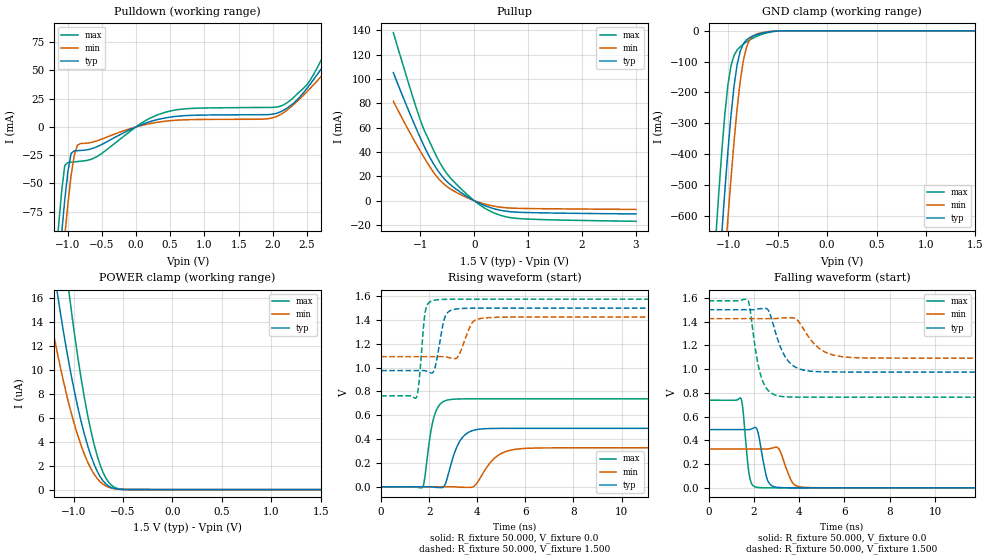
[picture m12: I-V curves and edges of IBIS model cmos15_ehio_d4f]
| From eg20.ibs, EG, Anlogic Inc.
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|   Model cmos15_ehio_d4f
[Model] cmos15_ehio_d4f
Model_type I/O
Polarity   Non-Inverting
Enable   Active-Low
C_comp   4.500pF   4.200pF   4.800pF
[Temperature Range]   25.000   80.000   -40.000
[Voltage Range]   1.500V   1.425V   1.575V
[Pullup Reference]   1.500V   1.425V   1.575V
[Pulldown Reference]   0.0V   0.0V   0.0V
[POWER Clamp Reference]   1.500V   1.425V   1.575V
[GND Clamp Reference]   0.0V   0.0V   0.0V
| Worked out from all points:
|   slope of the pulldown table from 0 to 0.225 V, typ, clamps not added: 44.6 ohm
|   slope of the pullup table from 0 to 0.225 V, typ, clamps not added: 49.3 ohm
|   GND clamp passes 1 mA (typ) near -0.51 V on its own axis
|   rising waveform, R_fixture 50.000, V_fixture 0.0: 20-80 % time 520ps typ, 759ps min, 345ps max; typ from 0 V to 0.491 V
|   rising waveform, R_fixture 50.000, V_fixture 1.500: 20-80 % time 283ps typ, 383ps min, 200ps max; typ from 0.975 V to 1.5 V
|   falling waveform, R_fixture 50.000, V_fixture 0.0: 20-80 % time 288ps typ, 385ps min, 215ps max; typ from 0.491 V to 0 V
|   falling waveform, R_fixture 50.000, V_fixture 1.500: 20-80 % time 641ps typ, 879ps min, 443ps max; typ from 1.5 V to 0.975 V
[Pulldown]
|Voltage   I(typ)   I(min)   I(max)
-1.5V     -381.2mA   -391mA     -366.6mA
-1.132V   -126.4mA   -155.7mA   -88.74mA
-1.086V   -94.6mA    -126mA     -57.33mA
-1.04V    -64.36mA   -96.59mA   -34.09mA
-948mV    -23.55mA   -43.3mA    -31.27mA
-856mV    -21.02mA   -16.28mA   -30.64mA
-580mV    -17.81mA   -12.48mA   -26.58mA
432mV     8.017mA    5.09mA     13.04mA
2.18V     15.59mA    13.59mA    20.3mA
2.502V    34.41mA    31.42mA    37.69mA
2.916V    70.48mA    59.47mA    85.07mA
3V        78.43mA    65.53mA    95.82mA
[Pullup]
|Voltage   I(typ)   I(min)   I(max)
-1.5V     105.2mA    81.64mA    138.1mA
-1.186V   70.75mA    55.31mA    91.95mA
-1.002V   51.87mA    40.89mA    66.58mA
-910mV    43.04mA    34.04mA    56.22mA
-726mV    28.18mA    21.57mA    38.86mA
-588mV    19.66mA    14.68mA    27.52mA
-450mV    13.43mA    9.872mA    19.09mA
-220mV    5.891mA    4.218mA    8.694mA
56mV      -1.284mA   -891.4uA   -1.963mA
378mV     -6.762mA   -4.635mA   -10.31mA
746mV     -9.363mA   -6.254mA   -14.39mA
3V        -10.96mA   -7.219mA   -16.98mA
[GND_clamp]
|Voltage   I(typ)   I(min)   I(max)
-1.5V     -2.869A    -3.024A    -2.672A
-1.128V   -954.4mA   -1.18A     -677.9mA
-1.097V   -803.9mA   -1.032A    -529.6mA
-1.066V   -658.5mA   -886.7mA   -391.9mA
-1.004V   -391mA     -609mA     -175.9mA
-973mV    -275.6mA   -479.9mA   -113.8mA
-942mV    -179.5mA   -360mA     -79.89mA
-911mV    -110.2mA   -253.9mA   -62.51mA
-849mV    -42.66mA   -98.61mA   -43.43mA
-787mV    -22.68mA   -30.64mA   -30.1mA
-508mV    -843.2uA   -635.4uA   -1.044mA
1.5V      0A         0A         0A
[POWER_clamp]
|Voltage   I(typ)   I(min)   I(max)
-1.476V   37.32uA    27.02uA    54.94uA
-1.29V    23.98uA    17.01uA    36uA
-1.259V   22.01uA    15.54uA    33.16uA
-1.166V   16.53uA    11.49uA    25.26uA
-1.042V   10.34uA    6.981uA    16.21uA
-949mV    6.578uA    4.303uA    10.62uA
-856mV    3.627uA    2.275uA    6.142uA
-763mV    1.566uA    949.9nA    2.871uA
-701mV    717.9nA    442.5nA    1.417uA
-608mV    141.3nA    102.7nA    303.1nA
-515mV    17.2nA     17.61nA    30.66nA
1.5V      0A         0A         0A
[Ramp]
| variable   typ   min   max
dV/dt_r   0.294/0.523n   0.196/0.757n   0.443/0.348n
dV/dt_f   0.315/0.640n   0.200/0.885n   0.487/0.445n
R_load = 50.000
[Rising Waveform]
R_fixture= 50.000
V_fixture= 0.0
V_fixture_min= 0.0
V_fixture_max= 0.0
|time   V(typ)   V(min)   V(max)
0s        199.5pV    3.19nV     30.53pV
1.722ns   39.3uV     317.5nV    -3.426mV
2.203ns   -3.316mV   -9.578uV   589.3mV
2.574ns   -3.704mV   107.9uV    713.3mV
2.773ns   90.49mV    265.2uV    728.5mV
3.283ns   386.4mV    -3.666mV   737mV
4.073ns   482.9mV    58.2mV     737.8mV
4.854ns   490mV      261.7mV    737.9mV
5.893ns   490.6mV    321mV      737.9mV
20ns      490.6mV    327.1mV    737.9mV
[Rising Waveform]
R_fixture= 50.000
V_fixture= 1.500
V_fixture_min= 1.425
V_fixture_max= 1.575
|time   V(typ)   V(min)   V(max)
0s        975.2mV    1.092V     763.3mV
1.465ns   975.2mV    1.092V     749.6mV
1.573ns   975.4mV    1.092V     878.3mV
1.833ns   973.3mV    1.092V     1.466V
2.214ns   984.1mV    1.092V     1.566V
2.653ns   1.424V     1.091V     1.573V
3.125ns   1.492V     1.079V     1.575V
3.765ns   1.499V     1.37V      1.575V
4.265ns   1.5V       1.416V     1.575V
20ns      1.5V       1.425V     1.575V
[Falling Waveform]
R_fixture= 50.000
V_fixture= 0.0
V_fixture_min= 0.0
V_fixture_max= 0.0
|time   V(typ)   V(min)   V(max)
0s        490.6mV    327.1mV    737.9mV
1.427ns   490.6mV    327.1mV    753.5mV
1.511ns   490.4mV    327.1mV    671mV
1.808ns   491.4mV    327.1mV    98.72mV
2.128ns   497.6mV    327.1mV    5.011mV
2.576ns   80.91mV    327.1mV    502.9uV
3.002ns   5.281mV    341.9mV    84.11uV
3.712ns   501.5uV    42.21mV    5.712uV
4.252ns   113.8uV    3.995mV    1.543uV
20ns      9.628nV    7.619nV    145.9nV
[Falling Waveform]
R_fixture= 50.000
V_fixture= 1.500
V_fixture_min= 1.425
V_fixture_max= 1.575
|time   V(typ)   V(min)   V(max)
0s        1.5V       1.425V     1.575V
1.736ns   1.5V       1.425V     1.583V
2.125ns   1.504V     1.425V     1.103V
2.345ns   1.509V     1.425V     923.4mV
2.667ns   1.485V     1.425V     813.6mV
3.107ns   1.219V     1.428V     773.1mV
3.93ns    1.008V     1.41V      763.8mV
4.831ns   978.4mV    1.183V     763.3mV
5.891ns   975.4mV    1.105V     763.3mV
20ns      975.2mV    1.092V     763.3mV
